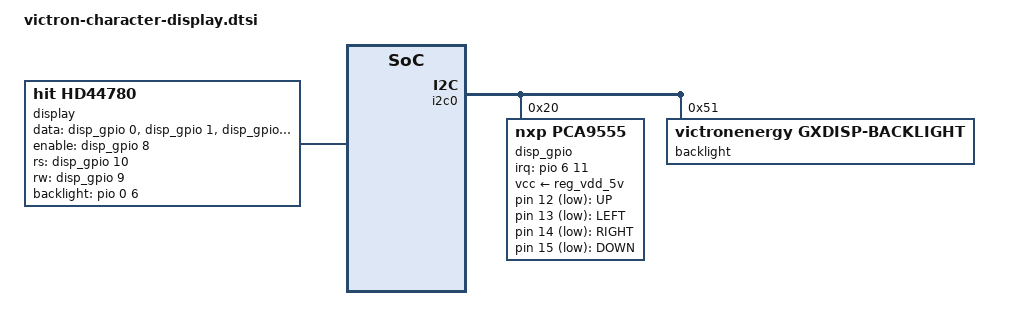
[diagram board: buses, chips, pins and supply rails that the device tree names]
/*
 * Copyright (C) 2018 Mans Rullgard <mans@mansr.com>
 *
 * This file is dual-licensed: you can use it either under the terms
 * of the GPL or the X11 license, at your option. Note that this dual
 * licensing only applies to this file, and not this project as a
 * whole.
 *
 *  a) This file is free software; you can redistribute it and/or
 *     modify it under the terms of the GNU General Public License as
 *     published by the Free Software Foundation; either version 2 of the
 *     License, or (at your option) any later version.
 *
 *     This file is distributed in the hope that it will be useful,
 *     but WITHOUT ANY WARRANTY; without even the implied warranty of
 *     MERCHANTABILITY or FITNESS FOR A PARTICULAR PURPOSE.  See the
 *     GNU General Public License for more details.
 *
 * Or, alternatively,
 *
 *  b) Permission is hereby granted, free of charge, to any person
 *     obtaining a copy of this software and associated documentation
 *     files (the "Software"), to deal in the Software without
 *     restriction, including without limitation the rights to use,
 *     copy, modify, merge, publish, distribute, sublicense, and/or
 *     sell copies of the Software, and to permit persons to whom the
 *     Software is furnished to do so, subject to the following
 *     conditions:
 *
 *     The above copyright notice and this permission notice shall be
 *     included in all copies or substantial portions of the Software.
 *
 *     THE SOFTWARE IS PROVIDED "AS IS", WITHOUT WARRANTY OF ANY KIND,
 *     EXPRESS OR IMPLIED, INCLUDING BUT NOT LIMITED TO THE WARRANTIES
 *     OF MERCHANTABILITY, FITNESS FOR A PARTICULAR PURPOSE AND
 *     NONINFRINGEMENT. IN NO EVENT SHALL THE AUTHORS OR COPYRIGHT
 *     HOLDERS BE LIABLE FOR ANY CLAIM, DAMAGES OR OTHER LIABILITY,
 *     WHETHER IN AN ACTION OF CONTRACT, TORT OR OTHERWISE, ARISING
 *     FROM, OUT OF OR IN CONNECTION WITH THE SOFTWARE OR THE USE OR
 *     OTHER DEALINGS IN THE SOFTWARE.
 */

#include <dt-bindings/input/input.h>

/ {
	display {
		compatible = "hit,hd44780";

		data-gpios = <&disp_gpio 0 GPIO_ACTIVE_HIGH>,
			     <&disp_gpio 1 GPIO_ACTIVE_HIGH>,
			     <&disp_gpio 2 GPIO_ACTIVE_HIGH>,
			     <&disp_gpio 3 GPIO_ACTIVE_HIGH>,
			     <&disp_gpio 4 GPIO_ACTIVE_HIGH>,
			     <&disp_gpio 5 GPIO_ACTIVE_HIGH>,
			     <&disp_gpio 6 GPIO_ACTIVE_HIGH>,
			     <&disp_gpio 7 GPIO_ACTIVE_HIGH>;
		enable-gpios = <&disp_gpio 8 GPIO_ACTIVE_HIGH>;
		rs-gpios = <&disp_gpio 10 GPIO_ACTIVE_HIGH>;
		rw-gpios = <&disp_gpio 9 GPIO_ACTIVE_HIGH>;

		backlight-gpios = <&pio 0 6 GPIO_ACTIVE_HIGH>;

		display-height-chars = <2>;
		display-width-chars = <16>;
	};

	disp_keys {
		compatible = "gpio-keys";

		up {
			label = "UP";
			linux,code = <KEY_UP>;
			gpios = <&disp_gpio 12 GPIO_ACTIVE_LOW>;
		};

		left {
			label = "LEFT";
			linux,code = <KEY_LEFT>;
			gpios = <&disp_gpio 13 GPIO_ACTIVE_LOW>;
		};

		right {
			label = "RIGHT";
			linux,code = <KEY_RIGHT>;
			gpios = <&disp_gpio 14 GPIO_ACTIVE_LOW>;
		};

		down {
			label = "DOWN";
			linux,code = <KEY_DOWN>;
			gpios = <&disp_gpio 15 GPIO_ACTIVE_LOW>;
		};
	};
};

&i2c0 {
	disp_gpio: gpio@20 {
		compatible = "nxp,pca9555";
		reg = <0x20>;
		interrupt-parent = <&pio>;
		interrupts = <6 11 IRQ_TYPE_LEVEL_LOW>;
		gpio-controller;
		#gpio-cells = <2>;
		interrupt-controller;
		#interrupt-cells = <2>;
		gpio-line-names = "display_sensor";
		gpio-line-numbers = <11>;
		vcc-supply = <&reg_vdd_5v>;
	};

	backlight@51 {
		compatible = "victronenergy,gxdisp-backlight";
		reg = <0x51>;
		default-on;
		default-brightness = <15>;
	};
};
